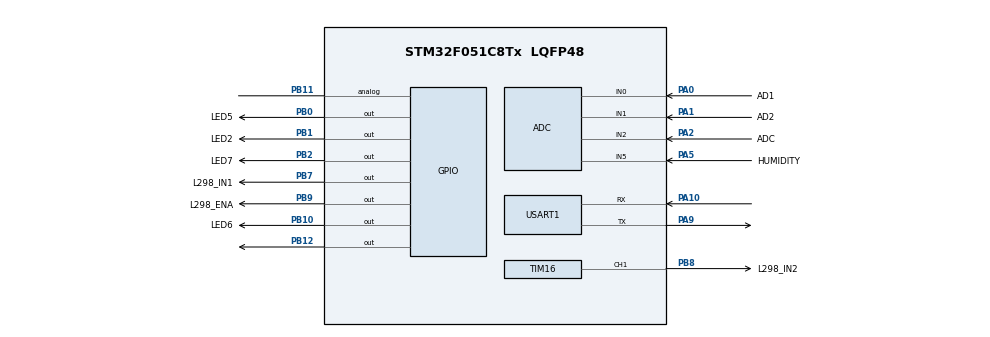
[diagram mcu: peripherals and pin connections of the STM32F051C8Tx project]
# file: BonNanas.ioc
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Mcu.Family=STM32F0
Mcu.Name=STM32F051C8Tx
Mcu.Package=LQFP48
NVIC.USART1_IRQn=true\:0\:0\:false\:false\:true\:true\:true
PA0.GPIO_Label=AD1
PA0.Mode=IN0
PA0.Signal=ADC_IN0
PA1.GPIO_Label=AD2
PA1.Mode=IN1
PA1.Signal=ADC_IN1
PA10.Mode=Asynchronous
PA10.Signal=USART1_RX
PA13.Mode=Serial_Wire
PA13.Signal=SYS_SWDIO
PA14.Mode=Serial_Wire
PA14.Signal=SYS_SWCLK
PA2.GPIO_Label=ADC
PA2.Mode=IN2
PA2.Signal=ADC_IN2
PA5.GPIO_Label=HUMIDITY
PA5.Mode=IN5
PA5.Signal=ADC_IN5
PA9.Mode=Asynchronous
PA9.Signal=USART1_TX
PB0.GPIO_Label=LED5
PB0.Signal=GPIO_Output
PB1.GPIO_Label=LED2
PB1.Signal=GPIO_Output
PB10.GPIO_Label=LED6
PB10.Signal=GPIO_Output
PB11.Signal=GPIO_Analog
PB12.GPIO_ModeDefaultOutputPP=GPIO_MODE_OUTPUT_OD
PB12.GPIO_Speed=GPIO_SPEED_FREQ_MEDIUM
PB12.Signal=GPIO_Output
PB2.GPIO_Label=LED7
PB2.Signal=GPIO_Output
PB7.GPIO_Label=L298_IN1
PB7.GPIO_ModeDefaultOutputPP=GPIO_MODE_OUTPUT_OD
PB7.Signal=GPIO_Output
PB8.GPIO_Label=L298_IN2
PB8.GPIO_ModeDefaultPP=GPIO_MODE_AF_OD
PB8.Signal=S_TIM16_CH1
PB9.GPIO_Label=L298_ENA
PB9.Signal=GPIO_Output
ProjectManager.HeapSize=0x200
ProjectManager.StackSize=0x400
ProjectManager.TargetToolchain=Other Toolchains (GPDSC)
RCC.AHBFreq_Value=48000000
RCC.APB1Freq_Value=48000000
RCC.APB1TimFreq_Value=48000000
RCC.FLatency=FLASH_LATENCY_1
RCC.HCLKFreq_Value=48000000
RCC.PLLMUL=RCC_PLL_MUL12
RCC.SYSCLKFreq_VALUE=48000000
RCC.SYSCLKSource=RCC_SYSCLKSOURCE_PLLCLK
RCC.Usart1ClockSelection=RCC_USART1CLKSOURCE_HSI
SH.S_TIM16_CH1.0=TIM16_CH1,PWM Generation1 CH1
TIM16.Channel=TIM_CHANNEL_1
TIM16.OCIdleState_1=TIM_OCIDLESTATE_SET
TIM16.Period=1000
TIM16.Pulse=500
USART1.VirtualMode-Asynchronous=VM_ASYNC
VP_ADC_Vref_Input.Mode=IN-Vrefint
VP_TIM16_VS_ClockSourceINT.Mode=Enable_Timer
board=unicon

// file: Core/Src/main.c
/* USER CODE BEGIN Header */
/**
  ******************************************************************************
  * @file           : main.c
  * @brief          : Main program body
  ******************************************************************************
  ** This notice applies to any and all portions of this file
  * that are not between comment pairs USER CODE BEGIN and
  * USER CODE END. Other portions of this file, whether
  * inserted by the user or by software development tools
  * are owned by their respective copyright owners.
  *
  * COPYRIGHT(c) 2019 STMicroelectronics
  *
  * Redistribution and use in source and binary forms, with or without modification,
  * are permitted provided that the following conditions are met:
  *   1. Redistributions of source code must retain the above copyright notice,
  *      this list of conditions and the following disclaimer.
  *   2. Redistributions in binary form must reproduce the above copyright notice,
  *      this list of conditions and the following disclaimer in the documentation
  *      and/or other materials provided with the distribution.
  *   3. Neither the name of STMicroelectronics nor the names of its contributors
  *      may be used to endorse or promote products derived from this software
  *      without specific prior written permission.
  *
  * THIS SOFTWARE IS PROVIDED BY THE COPYRIGHT HOLDERS AND CONTRIBUTORS "AS IS"
  * AND ANY EXPRESS OR IMPLIED WARRANTIES, INCLUDING, BUT NOT LIMITED TO, THE
  * IMPLIED WARRANTIES OF MERCHANTABILITY AND FITNESS FOR A PARTICULAR PURPOSE ARE
  * DISCLAIMED. IN NO EVENT SHALL THE COPYRIGHT HOLDER OR CONTRIBUTORS BE LIABLE
  * FOR ANY DIRECT, INDIRECT, INCIDENTAL, SPECIAL, EXEMPLARY, OR CONSEQUENTIAL
  * DAMAGES (INCLUDING, BUT NOT LIMITED TO, PROCUREMENT OF SUBSTITUTE GOODS OR
  * SERVICES; LOSS OF USE, DATA, OR PROFITS; OR BUSINESS INTERRUPTION) HOWEVER
  * CAUSED AND ON ANY THEORY OF LIABILITY, WHETHER IN CONTRACT, STRICT LIABILITY,
  * OR TORT (INCLUDING NEGLIGENCE OR OTHERWISE) ARISING IN ANY WAY OUT OF THE USE
  * OF THIS SOFTWARE, EVEN IF ADVISED OF THE POSSIBILITY OF SUCH DAMAGE.
  *
  ******************************************************************************
  */
/* USER CODE END Header */

#include "main.h"

/* USER CODE BEGIN Includes */
#include <stdio.h>
#include "unicon.h"
#include "ds18b20.h"
#include "motor.h"
#include "command.h"
/* USER CODE END Includes */

/* USER CODE BEGIN PD */
#define CH_POT_RV1      LL_ADC_CHANNEL_0
#define CH_POT_RV2      LL_ADC_CHANNEL_1
#define CH_HUMIDITY     LL_ADC_CHANNEL_5

#define HIGH_TEMPERATURE_DEF    25
#define LOW_TEMPERATURE_DEF     20
#define HUM_LEVEL_DEF           400

/* USER CODE END PD */

/* USER CODE BEGIN PV */
const char version[] = "Ver. 1.1-20190425";
SysData_TypeDef SysData;

uint8_t ds_status;
/* USER CODE END PV */

void SystemClock_Config(void);
static void MX_GPIO_Init(void);
static void MX_ADC_Init(void);
static void MX_USART1_UART_Init(void);
static void MX_TIM16_Init(void);
/* USER CODE BEGIN PFP */

static void LedHandler(void);				// LEDu hendleris
static void TestModeHandler(SysData_TypeDef *self);	// Testinio rezimo hendleris
void SetDefaults(SysData_TypeDef *self);		// Nustatyti parametru pradines reiksmes
/* USER CODE END PFP */

/* pagrindine funkcija - programa prasideda cia ir eina zemyn */
int main(void) {
    /* USER CODE BEGIN 1 */
    static volatile uint32_t delay = 0;		// pagrindinio laikmacio skaitliukas - 100ms periodas
    static uint8_t ds_delay = 0;		// temperaturos matavimo skaitliukas - 1s periodas

    /* USER CODE END 1 */

    /* MCU Configuration--------------------------------------------------------*/

    /* Reset of all peripherals, Initializes the Flash interface and the Systick. */

    LL_APB1_GRP2_EnableClock(LL_APB1_GRP2_PERIPH_SYSCFG);	// -> ijungiam GRP2 proco hardwaro taktavima
    LL_APB1_GRP1_EnableClock(LL_APB1_GRP1_PERIPH_PWR);		// -> ijungiam GRP1 proco hardwaro taktavima

    /* System interrupt init*/

    /* Configure the system clock */
    SystemClock_Config();					// -> sukonfiguruojam Sistemos taktavima

    /* USER CODE BEGIN SysInit */
    SysTick_Config(SystemCoreClock/1000);			// -> sukonfiguruojam ir ijungiam sistemini taimeri - 1ms periodas
    /* USER CODE END SysInit */

    /* Initialize all configured peripherals */
    MX_GPIO_Init();						// -> sukonfiguruojam portus ir pinus
    MX_ADC_Init();						// -> sukonfiguruojam ADC konvertoriu( Analog to Digital Convertor),
								// kad galetume nuskaityti dregmes daviklio, potenciometru reiksmes
    MX_USART1_UART_Init();					// -> sukonfiguruojam UART
    MX_TIM16_Init();						// -> sukonfiguruojam TIM16 taimeri, kad galetume keisti variklio
								// sukimosi greiti
    /* USER CODE BEGIN 2 */

    LL_mDelay(10);						// ->pauze 10ms

    SetDefaults(&SysData);					// ->nustatom pradines reiksmes

    UNI_Start();						// ->sukonfiguruojam Unicon plokste

    DS18B20_PortInit();						// ->sukonfiguruojam temperaturos daviklio porta
    ds_status = DS18B20_Init(DS_MODE_SKIP_ROM);			// ->startuojam temperaturos davikli

    DS18B20_MeasureTemperCmd(DS_MODE_SKIP_ROM, 0);		// ->paleidziam temperaturos matavima, rezultata galesim pasiimti veliau
								// ->(po ~1ms)
    Delay_ms(100);						// ->pauze 100ms

    L298_Init(&SysData);					// ->inicializuojam proco hartwara, kuris valdys variklio draiveri -
								// ->TIM16 ir ENABLE, IN1, IN2 portus

    /* USER CODE END 2 */

    /* Infinite loop */
    /* USER CODE BEGIN WHILE */

    while (1) {							// ->pagrindinis ciklas

        if(delay <= timestamp) {				// ->pagrindinio laikmacio ciklas

            delay = timestamp + 100;

            ADC_Read_VREFINT();					// ->matuojam maitinimo itampa, kad veliau galetume perskaicuoti ADC reiksmes
								// milivoltais. Bet mes to nedarome

            SysData.ADC_Data.ch0 = ADC_ReadAnalog(CH_POT_RV1);	// -> skaitom ADC kanala CH0 (potenciometras RV1)
            Delay_ms(10);

            SysData.ADC_Data.ch1 = ADC_ReadAnalog(CH_POT_RV2);	// -> skaitom ADC kanala CH1 (potenciometras RV2)
            Delay_ms(10);

            SysData.ADC_Data.ch2 = ADC_ReadAnalog(CH_HUMIDITY);	// -> skaitom ADC kanala CH5 (dregmes daviklis)
            Delay_ms(10);

            if(ds_delay == 0) {					// ->temperaturos daviklio ciklas

                ds_delay = 10;

                DS18B20_ReadStratchpad(DS_MODE_SKIP_ROM, 0);	// -> skaitom temperaturos daviklio duomenys
                SysData.temper = DS18B20_Convert(0);		// -> konvertuojam jo duomenys i temperatura

                Delay_ms(10);
                DS18B20_MeasureTemperCmd(DS_MODE_SKIP_ROM, 0);	// -> paleidziam sekanti matavima
            } else {

                ds_delay--;					// -> mazinam temperaturos daviklio laikmacio skaitliuka
            }

            if(SysData.TestMode == 0) {					// -> jai esame normaliame rezime, vykdom darbo logika

                if(SysData.ADC_Data.ch2 >= SysData.HighHumidity) {	// jai nuskaityta dregmes daviklio reiksme didesne uz nustatyta:
                    L298_CloseWindow(&SysData);				// uzdarom langa
                    LED6_ON();						// uzdegam LED6 sviesos dioda
                } else {						// jai ne:

                    LED6_OFF();						// gesinam LED6 sviesos dioda

                    if(SysData.temper >= SysData.HighTemperature) {	// jai nuskaityta temperatura virsyja auksciausia:
                        L298_OpenWindow(&SysData);			// atidarom langa
                        LED7_ON();					// uzdegam LED7 sviesos dioda
                    } else {						// jai ne:

                        if(SysData.temper < SysData.LowTemperature) {	// jai nuskaityta temperatura mazesne uz zemiausia:
                            L298_CloseWindow(&SysData);			// uzdarom langa
                        }

                        LED7_OFF();					// gesinam LED7 svesos dioda
                    }
                }
            } else {							// jai esam Teste
                /* testas */

                TestModeHandler(&SysData);				// vykdom testa
            }

            L298_Process(&SysData);					// valdom varikli

            UNI_Process();						// valdom Unicon plokste (musu atveju nieko nedarom)

            LedHandler();						// valdom kitus sviesos diodus

        }								// pagrindinio laikmacio ciklo pabaiga

        if(NewMessageFlag) {						// jai per UARTA gavom komanda

            NewMessageHandler(&SysData);				// vykdom ja

            NewMessageFlag = false;					// numetam naujos komandos flaga
        }

        /* USER CODE END WHILE */

        /* USER CODE BEGIN 3 */

    }									// pagrindinio ciklo pabaiga - gryztam i pradzia
    /* USER CODE END 3 */
}

void SystemClock_Config(void) {
    LL_FLASH_SetLatency(LL_FLASH_LATENCY_1);

    if(LL_FLASH_GetLatency() != LL_FLASH_LATENCY_1) {
        Error_Handler();
    }
    LL_RCC_HSI_Enable();

    /* Wait till HSI is ready */
    while(LL_RCC_HSI_IsReady() != 1) {

    }
    LL_RCC_HSI_SetCalibTrimming(16);
    LL_RCC_HSI14_Enable();

    /* Wait till HSI14 is ready */
    while(LL_RCC_HSI14_IsReady() != 1) {

    }
    LL_RCC_HSI14_SetCalibTrimming(16);
    LL_RCC_PLL_ConfigDomain_SYS(LL_RCC_PLLSOURCE_HSI_DIV_2, LL_RCC_PLL_MUL_12);
    LL_RCC_PLL_Enable();

    /* Wait till PLL is ready */
    while(LL_RCC_PLL_IsReady() != 1) {

    }
    LL_RCC_SetAHBPrescaler(LL_RCC_SYSCLK_DIV_1);
    LL_RCC_SetAPB1Prescaler(LL_RCC_APB1_DIV_1);
    LL_RCC_SetSysClkSource(LL_RCC_SYS_CLKSOURCE_PLL);

    /* Wait till System clock is ready */
    while(LL_RCC_GetSysClkSource() != LL_RCC_SYS_CLKSOURCE_STATUS_PLL) {

    }
    LL_Init1msTick(48000000);
    LL_SYSTICK_SetClkSource(LL_SYSTICK_CLKSOURCE_HCLK);
    LL_SetSystemCoreClock(48000000);
    LL_RCC_HSI14_EnableADCControl();
    LL_RCC_SetUSARTClockSource(LL_RCC_USART1_CLKSOURCE_HSI);
}

static void MX_ADC_Init(void) {

    LL_ADC_InitTypeDef ADC_InitStruct = {0};
    LL_ADC_REG_InitTypeDef ADC_REG_InitStruct = {0};

    LL_GPIO_InitTypeDef GPIO_InitStruct = {0};

    /* Peripheral clock enable */
    LL_APB1_GRP2_EnableClock(LL_APB1_GRP2_PERIPH_ADC1);

    LL_AHB1_GRP1_EnableClock(LL_AHB1_GRP1_PERIPH_GPIOA);
    /**ADC GPIO Configuration
    PA0   ------> ADC_IN0
    PA1   ------> ADC_IN1
    PA2   ------> ADC_IN2
    PA5   ------> ADC_IN5
    */
    GPIO_InitStruct.Pin = AD1_Pin;
    GPIO_InitStruct.Mode = LL_GPIO_MODE_ANALOG;
    GPIO_InitStruct.Pull = LL_GPIO_PULL_NO;
    LL_GPIO_Init(AD1_GPIO_Port, &GPIO_InitStruct);

    GPIO_InitStruct.Pin = AD2_Pin;
    GPIO_InitStruct.Mode = LL_GPIO_MODE_ANALOG;
    GPIO_InitStruct.Pull = LL_GPIO_PULL_NO;
    LL_GPIO_Init(AD2_GPIO_Port, &GPIO_InitStruct);

    GPIO_InitStruct.Pin = ADC_Pin;
    GPIO_InitStruct.Mode = LL_GPIO_MODE_ANALOG;
    GPIO_InitStruct.Pull = LL_GPIO_PULL_NO;
    LL_GPIO_Init(ADC_GPIO_Port, &GPIO_InitStruct);

    GPIO_InitStruct.Pin = HUMIDITY_Pin;
    GPIO_InitStruct.Mode = LL_GPIO_MODE_ANALOG;
    GPIO_InitStruct.Pull = LL_GPIO_PULL_NO;
    LL_GPIO_Init(HUMIDITY_GPIO_Port, &GPIO_InitStruct);

    /** Configure Regular Channel
    */
    LL_ADC_REG_SetSequencerChAdd(ADC1, LL_ADC_CHANNEL_0);
    /** Configure Regular Channel
    */
    LL_ADC_REG_SetSequencerChAdd(ADC1, LL_ADC_CHANNEL_1);
    /** Configure Regular Channel
    */
    LL_ADC_REG_SetSequencerChAdd(ADC1, LL_ADC_CHANNEL_2);
    /** Configure Regular Channel
    */
    LL_ADC_REG_SetSequencerChAdd(ADC1, LL_ADC_CHANNEL_5);
    /** Configure Regular Channel
    */
    LL_ADC_REG_SetSequencerChAdd(ADC1, LL_ADC_PATH_INTERNAL_VREFINT);
    /** Configure Internal Channel
    */
    LL_ADC_SetCommonPathInternalCh(__LL_ADC_COMMON_INSTANCE(ADC1), LL_ADC_CHANNEL_VREFINT);
    /** Configure the global features of the ADC (Clock, Resolution, Data Alignment and number of conversion)
    */
    ADC_InitStruct.Clock = LL_ADC_CLOCK_ASYNC;
    ADC_InitStruct.Resolution = LL_ADC_RESOLUTION_12B;
    ADC_InitStruct.DataAlignment = LL_ADC_DATA_ALIGN_RIGHT;
    ADC_InitStruct.LowPowerMode = LL_ADC_LP_MODE_NONE;
    LL_ADC_Init(ADC1, &ADC_InitStruct);
    ADC_REG_InitStruct.TriggerSource = LL_ADC_REG_TRIG_SOFTWARE;
    ADC_REG_InitStruct.SequencerDiscont = LL_ADC_REG_SEQ_DISCONT_DISABLE;
    ADC_REG_InitStruct.ContinuousMode = LL_ADC_REG_CONV_SINGLE;
    ADC_REG_InitStruct.DMATransfer = LL_ADC_REG_DMA_TRANSFER_LIMITED;
    ADC_REG_InitStruct.Overrun = LL_ADC_REG_OVR_DATA_PRESERVED;
    LL_ADC_REG_Init(ADC1, &ADC_REG_InitStruct);
    LL_ADC_REG_SetSequencerScanDirection(ADC1, LL_ADC_REG_SEQ_SCAN_DIR_FORWARD);
    LL_ADC_SetSamplingTimeCommonChannels(ADC1, LL_ADC_SAMPLINGTIME_1CYCLE_5);
    LL_ADC_DisableIT_EOC(ADC1);
    LL_ADC_DisableIT_EOS(ADC1);

}

static void MX_TIM16_Init(void) {

    LL_TIM_InitTypeDef TIM_InitStruct = {0};
    LL_TIM_OC_InitTypeDef TIM_OC_InitStruct = {0};
    LL_TIM_BDTR_InitTypeDef TIM_BDTRInitStruct = {0};

    LL_GPIO_InitTypeDef GPIO_InitStruct = {0};

    /* Peripheral clock enable */
    LL_APB1_GRP2_EnableClock(LL_APB1_GRP2_PERIPH_TIM16);

    TIM_InitStruct.Prescaler = 0;
    TIM_InitStruct.CounterMode = LL_TIM_COUNTERMODE_UP;
    TIM_InitStruct.Autoreload = 1000;
    TIM_InitStruct.ClockDivision = LL_TIM_CLOCKDIVISION_DIV1;
    TIM_InitStruct.RepetitionCounter = 0;
    LL_TIM_Init(TIM16, &TIM_InitStruct);
    LL_TIM_DisableARRPreload(TIM16);
    LL_TIM_OC_EnablePreload(TIM16, LL_TIM_CHANNEL_CH1);
    TIM_OC_InitStruct.OCMode = LL_TIM_OCMODE_PWM1;
    TIM_OC_InitStruct.OCState = LL_TIM_OCSTATE_DISABLE;
    TIM_OC_InitStruct.OCNState = LL_TIM_OCSTATE_DISABLE;
    TIM_OC_InitStruct.CompareValue = 500;
    TIM_OC_InitStruct.OCPolarity = LL_TIM_OCPOLARITY_HIGH;
    TIM_OC_InitStruct.OCNPolarity = LL_TIM_OCPOLARITY_HIGH;
    TIM_OC_InitStruct.OCIdleState = LL_TIM_OCIDLESTATE_HIGH;
    TIM_OC_InitStruct.OCNIdleState = LL_TIM_OCIDLESTATE_LOW;
    LL_TIM_OC_Init(TIM16, LL_TIM_CHANNEL_CH1, &TIM_OC_InitStruct);
    LL_TIM_OC_DisableFast(TIM16, LL_TIM_CHANNEL_CH1);
    TIM_BDTRInitStruct.OSSRState = LL_TIM_OSSR_DISABLE;
    TIM_BDTRInitStruct.OSSIState = LL_TIM_OSSI_DISABLE;
    TIM_BDTRInitStruct.LockLevel = LL_TIM_LOCKLEVEL_OFF;
    TIM_BDTRInitStruct.DeadTime = 0;
    TIM_BDTRInitStruct.BreakState = LL_TIM_BREAK_DISABLE;
    TIM_BDTRInitStruct.BreakPolarity = LL_TIM_BREAK_POLARITY_HIGH;
    TIM_BDTRInitStruct.AutomaticOutput = LL_TIM_AUTOMATICOUTPUT_DISABLE;
    LL_TIM_BDTR_Init(TIM16, &TIM_BDTRInitStruct);
    LL_AHB1_GRP1_EnableClock(LL_AHB1_GRP1_PERIPH_GPIOB);
    /**TIM16 GPIO Configuration
    PB8   ------> TIM16_CH1
    */
    GPIO_InitStruct.Pin = L298_IN2_Pin;
    GPIO_InitStruct.Mode = LL_GPIO_MODE_ALTERNATE;
    GPIO_InitStruct.Speed = LL_GPIO_SPEED_FREQ_LOW;
    GPIO_InitStruct.OutputType = LL_GPIO_OUTPUT_OPENDRAIN;
    GPIO_InitStruct.Pull = LL_GPIO_PULL_NO;
    GPIO_InitStruct.Alternate = LL_GPIO_AF_2;
    LL_GPIO_Init(L298_IN2_GPIO_Port, &GPIO_InitStruct);

}

static void MX_USART1_UART_Init(void) {

    LL_USART_InitTypeDef USART_InitStruct = {0};

    LL_GPIO_InitTypeDef GPIO_InitStruct = {0};

    /* Peripheral clock enable */
    LL_APB1_GRP2_EnableClock(LL_APB1_GRP2_PERIPH_USART1);

    LL_AHB1_GRP1_EnableClock(LL_AHB1_GRP1_PERIPH_GPIOA);
    /**USART1 GPIO Configuration
    PA9   ------> USART1_TX
    PA10   ------> USART1_RX
    */
    GPIO_InitStruct.Pin = LL_GPIO_PIN_9;
    GPIO_InitStruct.Mode = LL_GPIO_MODE_ALTERNATE;
    GPIO_InitStruct.Speed = LL_GPIO_SPEED_FREQ_HIGH;
    GPIO_InitStruct.OutputType = LL_GPIO_OUTPUT_PUSHPULL;
    GPIO_InitStruct.Pull = LL_GPIO_PULL_NO;
    GPIO_InitStruct.Alternate = LL_GPIO_AF_1;
    LL_GPIO_Init(GPIOA, &GPIO_InitStruct);

    GPIO_InitStruct.Pin = LL_GPIO_PIN_10;
    GPIO_InitStruct.Mode = LL_GPIO_MODE_ALTERNATE;
    GPIO_InitStruct.Speed = LL_GPIO_SPEED_FREQ_HIGH;
    GPIO_InitStruct.OutputType = LL_GPIO_OUTPUT_PUSHPULL;
    GPIO_InitStruct.Pull = LL_GPIO_PULL_NO;
    GPIO_InitStruct.Alternate = LL_GPIO_AF_1;
    LL_GPIO_Init(GPIOA, &GPIO_InitStruct);

    /* USART1 interrupt Init */
    NVIC_SetPriority(USART1_IRQn, 0);
    NVIC_EnableIRQ(USART1_IRQn);

    USART_InitStruct.BaudRate = 38400;
    USART_InitStruct.DataWidth = LL_USART_DATAWIDTH_8B;
    USART_InitStruct.StopBits = LL_USART_STOPBITS_1;
    USART_InitStruct.Parity = LL_USART_PARITY_NONE;
    USART_InitStruct.TransferDirection = LL_USART_DIRECTION_TX_RX;
    USART_InitStruct.HardwareFlowControl = LL_USART_HWCONTROL_NONE;
    USART_InitStruct.OverSampling = LL_USART_OVERSAMPLING_16;
    LL_USART_Init(USART1, &USART_InitStruct);
    LL_USART_DisableIT_CTS(USART1);
    LL_USART_DisableOverrunDetect(USART1);
    LL_USART_ConfigAsyncMode(USART1);
    LL_USART_Enable(USART1);

}

static void MX_GPIO_Init(void) {
    LL_GPIO_InitTypeDef GPIO_InitStruct = {0};

    /* GPIO Ports Clock Enable */
    LL_AHB1_GRP1_EnableClock(LL_AHB1_GRP1_PERIPH_GPIOA);
    LL_AHB1_GRP1_EnableClock(LL_AHB1_GRP1_PERIPH_GPIOB);

    /**/
    LL_GPIO_ResetOutputPin(LED5_GPIO_Port, LED5_Pin);

    /**/
    LL_GPIO_ResetOutputPin(LED2_GPIO_Port, LED2_Pin);

    /**/
    LL_GPIO_ResetOutputPin(LED7_GPIO_Port, LED7_Pin);

    /**/
    LL_GPIO_ResetOutputPin(LED6_GPIO_Port, LED6_Pin);

    /**/
    LL_GPIO_ResetOutputPin(GPIOB, LL_GPIO_PIN_12);

    /**/
    LL_GPIO_ResetOutputPin(L298_IN1_GPIO_Port, L298_IN1_Pin);

    /**/
    LL_GPIO_ResetOutputPin(L298_ENA_GPIO_Port, L298_ENA_Pin);

    /**/
    GPIO_InitStruct.Pin = LED5_Pin;
    GPIO_InitStruct.Mode = LL_GPIO_MODE_OUTPUT;
    GPIO_InitStruct.Speed = LL_GPIO_SPEED_FREQ_LOW;
    GPIO_InitStruct.OutputType = LL_GPIO_OUTPUT_PUSHPULL;
    GPIO_InitStruct.Pull = LL_GPIO_PULL_NO;
    LL_GPIO_Init(LED5_GPIO_Port, &GPIO_InitStruct);

    /**/
    GPIO_InitStruct.Pin = LED2_Pin;
    GPIO_InitStruct.Mode = LL_GPIO_MODE_OUTPUT;
    GPIO_InitStruct.Speed = LL_GPIO_SPEED_FREQ_LOW;
    GPIO_InitStruct.OutputType = LL_GPIO_OUTPUT_PUSHPULL;
    GPIO_InitStruct.Pull = LL_GPIO_PULL_NO;
    LL_GPIO_Init(LED2_GPIO_Port, &GPIO_InitStruct);

    /**/
    GPIO_InitStruct.Pin = LED7_Pin;
    GPIO_InitStruct.Mode = LL_GPIO_MODE_OUTPUT;
    GPIO_InitStruct.Speed = LL_GPIO_SPEED_FREQ_LOW;
    GPIO_InitStruct.OutputType = LL_GPIO_OUTPUT_PUSHPULL;
    GPIO_InitStruct.Pull = LL_GPIO_PULL_NO;
    LL_GPIO_Init(LED7_GPIO_Port, &GPIO_InitStruct);

    /**/
    GPIO_InitStruct.Pin = LED6_Pin;
    GPIO_InitStruct.Mode = LL_GPIO_MODE_OUTPUT;
    GPIO_InitStruct.Speed = LL_GPIO_SPEED_FREQ_LOW;
    GPIO_InitStruct.OutputType = LL_GPIO_OUTPUT_PUSHPULL;
    GPIO_InitStruct.Pull = LL_GPIO_PULL_NO;
    LL_GPIO_Init(LED6_GPIO_Port, &GPIO_InitStruct);

    /**/
    GPIO_InitStruct.Pin = LL_GPIO_PIN_11;
    GPIO_InitStruct.Mode = LL_GPIO_MODE_ANALOG;
    GPIO_InitStruct.Pull = LL_GPIO_PULL_NO;
    LL_GPIO_Init(GPIOB, &GPIO_InitStruct);

    /**/
    GPIO_InitStruct.Pin = LL_GPIO_PIN_12;
    GPIO_InitStruct.Mode = LL_GPIO_MODE_OUTPUT;
    GPIO_InitStruct.Speed = LL_GPIO_SPEED_FREQ_MEDIUM;
    GPIO_InitStruct.OutputType = LL_GPIO_OUTPUT_OPENDRAIN;
    GPIO_InitStruct.Pull = LL_GPIO_PULL_NO;
    LL_GPIO_Init(GPIOB, &GPIO_InitStruct);

    /**/
    GPIO_InitStruct.Pin = L298_IN1_Pin;
    GPIO_InitStruct.Mode = LL_GPIO_MODE_OUTPUT;
    GPIO_InitStruct.Speed = LL_GPIO_SPEED_FREQ_LOW;
    GPIO_InitStruct.OutputType = LL_GPIO_OUTPUT_OPENDRAIN;
    GPIO_InitStruct.Pull = LL_GPIO_PULL_NO;
    LL_GPIO_Init(L298_IN1_GPIO_Port, &GPIO_InitStruct);

    /**/
    GPIO_InitStruct.Pin = L298_ENA_Pin;
    GPIO_InitStruct.Mode = LL_GPIO_MODE_OUTPUT;
    GPIO_InitStruct.Speed = LL_GPIO_SPEED_FREQ_LOW;
    GPIO_InitStruct.OutputType = LL_GPIO_OUTPUT_PUSHPULL;
    GPIO_InitStruct.Pull = LL_GPIO_PULL_NO;
    LL_GPIO_Init(L298_ENA_GPIO_Port, &GPIO_InitStruct);

}

/* USER CODE BEGIN 4 */

static void LedHandler(void) {

    static uint32_t delay = 0;
    static uint8_t led = 0;

    if(delay < timestamp) {

        delay = timestamp + 100;

        if(SysData.TestMode) {

            LED2_OFF();
            LED5_OFF();
            LED6_OFF();
            LED7_OFF();

            switch(led) {
            case 0:
                LED2_ON();
                led = 1;
                break;
            case 1:
                LED5_ON();
                led = 2;
                break;
            case 2:
                LED6_ON();
                led = 3;
                break;
            case 3:
                LED7_ON();
                led = 0;
                break;
            }

        } else {

            if(SysData.WindowState) LED2_ON();
            else LED2_OFF();

            if( L298_ENA_CHECK() ) LED5_ON();
            else LED5_OFF();

        }

    }
}

/*  */
static void TestModeHandler(SysData_TypeDef *self) {

}

/*  */
void SetDefaults(SysData_TypeDef *self){

    self->HighTemperature = HIGH_TEMPERATURE_DEF;
    self->LowTemperature = LOW_TEMPERATURE_DEF;
    self->HighHumidity = HUM_LEVEL_DEF;
    self->MotorSpeed = MOTOR_SPEED_DEF;
    self->MotorRunTime = MOTOR_RUNTIME_DEF;
    self->MotorPauseTime = MOTOR_PAUSE_TIME_DEF;
}

/* USER CODE END 4 */

void Error_Handler(void) {
}

/************************ (C) COPYRIGHT STMicroelectronics *****END OF FILE****/
